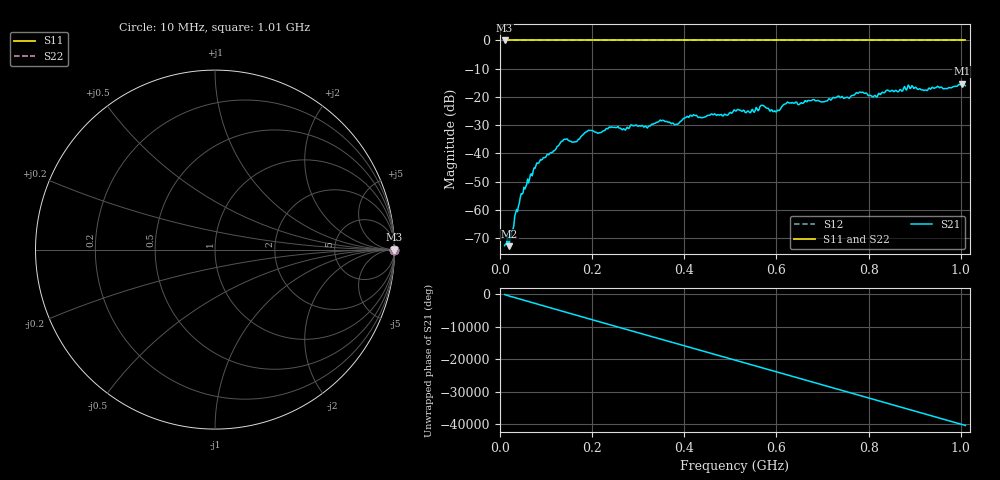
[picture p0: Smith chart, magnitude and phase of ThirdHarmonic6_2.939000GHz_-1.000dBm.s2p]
! 8/17/2025 8:13:57 AM
! C:\ANRITSUVNA\TEMP\TEMP.S2P
! CHANNEL.1
! TR.MEASUREMENT
! RAW.DATA
! RF.CORRECTION.OFF
! AVERAGING.OFF
! IF.BANDWIDTH: 5KHZ
! SWEEPTYPE:  FREQ.SWEEP(Linear)
! Reference Plane Port Info
! PORT:  PORT1  PORT2
! DISTANCE:  0  m  0  m
! TIME:  0  s  0  s
! PHASE.OFFSET:  0  deg.  0  deg.
! LOSS:  0  dB  0  dB
! REF.LOSS:  0  dB  0  dB
! REF.FREQ:  0  Hz  0  Hz
! Power Info
! POWER:  -20  dBm  -20  dBm
! EFF.POWER:  -20  dBm  -20  dBm
! SOURCE.ATTEN:  0  dB  0  dB
! TEST.ATTEN:  0  dB  0  dB
# GHZ S RI R 50.0
! FREQ.GHZ  S11RE  S11IM  S21RE  S21IM  S12RE  S12IM  S22RE  S22IM
!; PortSelection: Port_12
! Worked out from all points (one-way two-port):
!   501 points, 10 MHz to 1.01 GHz, reference 50 ohm
!   highest |S21| = -15.26 dB at 1.002 GHz (marker M1); lowest = -72.9 dB at 20 MHz (marker M2)
!   lowest |S11| = 0.0 dB at 10 MHz (marker M3)
!   |S11| at or under -10 dB: nowhere
!   |S22| runs from 0.0 to 0.0 dB; largest |S21 - S12| = 1.2
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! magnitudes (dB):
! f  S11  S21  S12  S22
! 10 MHz  0.0  -72.7  0.0  0.0
! 20 MHz  0.0  -72.9  0.0  0.0
! 48 MHz  0.0  -54.4  0.0  0.0
! 78 MHz  0.0  -44.3  0.0  0.0
! 136 MHz  0.0  -35.6  0.0  0.0
! 162 MHz  0.0  -35.9  0.0  0.0
! 178 MHz  0.0  -33.7  0.0  0.0
! 194 MHz  0.0  -31.9  0.0  0.0
! 344 MHz  0.0  -28.8  0.0  0.0
! 382 MHz  0.0  -29.7  0.0  0.0
! 416 MHz  0.0  -26.8  0.0  0.0
! 510 MHz  0.0  -24.8  0.0  0.0
! 540 MHz  0.0  -25.3  0.0  0.0
! 570 MHz  0.0  -23.0  0.0  0.0
! 596 MHz  0.0  -24.9  0.0  0.0
! 622 MHz  0.0  -22.2  0.0  0.0
! 678 MHz  0.0  -21.1  0.0  0.0
! 784 MHz  0.0  -18.5  0.0  0.0
! 814 MHz  0.0  -19.5  0.0  0.0
! 844 MHz  0.0  -17.9  0.0  0.0
! 1.002 GHz  0.0  -15.3  0.0  0.0
! 1.01 GHz  0.0  -16.0  0.0  0.0
